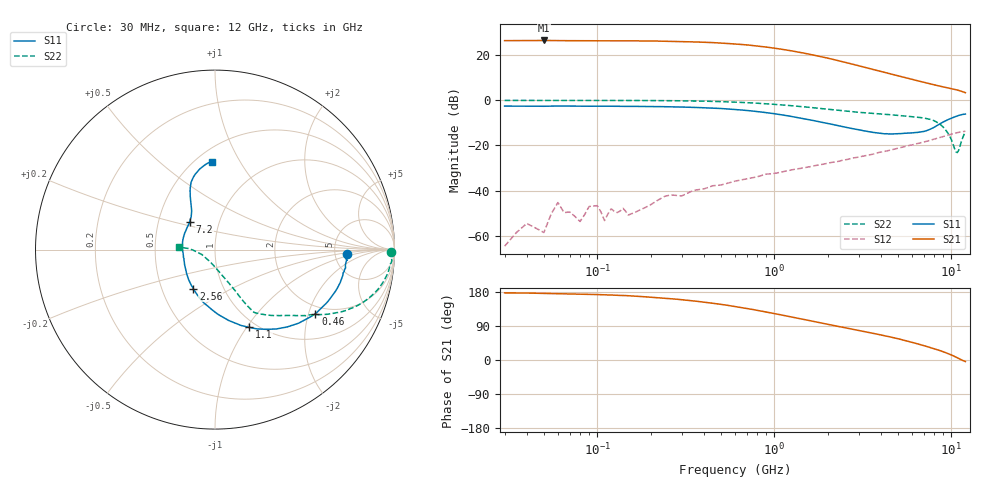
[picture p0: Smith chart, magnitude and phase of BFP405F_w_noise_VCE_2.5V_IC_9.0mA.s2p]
! Infineon Technologies  Discrete & RF Semiconductors
! BFP405F
! VCE =  2.5 V,  IC =  9.0 mA
! Common Emitter S-Parameters:  Nov 2015
# GHz  S  MA  R  50
!  f  S11  S21  S12  S22
! GHz  MAG  ANG  MAG  ANG  MAG  ANG  MAG  ANG
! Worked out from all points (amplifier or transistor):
!   239 points, 30 MHz to 12 GHz, reference 50 ohm
!   highest |S21| = 26.3 dB at 50 MHz (marker M1)
!   |S21| within 3 dB of that: start of sweep to 920.2 MHz
!   unconditionally stable (mu >= 1): start of sweep to 30.01626 MHz; 2.342 GHz to end of sweep
!   at 300 MHz: K = 0.23, MSG = 34.0 dB, |S12| = -42.3 dB
!   at 1.88 GHz: K = 0.87, MSG = 23.6 dB, |S12| = -28.3 dB
!   at 12 GHz: K = 1.40, MAG = 4.7 dB, |S12| = -13.7 dB
!   lowest NFmin = 1.60 dB at 450 MHz
!   S11 on the Smith chart (normalised r, x): 30 MHz: 6.48, -0.69; 460 MHz: 1.74, -2.22; 1.1 GHz: 0.92, -1.03; 2.56 GHz: 0.72, -0.33; 7.2 GHz: 0.72, +0.24; 12 GHz: 0.59, +0.77
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0.03  0.7353 -1.9  20.43 177.1  0.0006 62.1  0.9823 -0.7
0.04  0.7351 -2.6  20.46 176.7  0.0019 107.8  0.9825 -0.8
0.05  0.7299 -4.0  20.62 175.7  0.0012 120.0  0.986 -1.2
0.06  0.7395 -4.6  20.42 175.2  0.0055 56.5  0.9849 -1.9
0.085  0.7322 -6.2  20.34 173.4  0.003 92.1  0.9869 -2.5
0.145  0.7262 -10.7  20.25 170.0  0.0035 93.3  0.982 -4.5
0.24  0.7143 -17.6  19.83 163.1  0.0075 82.4  0.9724 -7.6
0.32  0.6969 -23.1  19.38 157.9  0.0087 78.9  0.9597 -10.0
0.46  0.6632 -32.5  18.41 149.1  0.013 78.4  0.9331 -13.9
0.6  0.6208 -41.3  17.26 141.1  0.0163 73.4  0.9008 -17.3
0.82  0.5525 -53.2  15.39 130.1  0.0209 71.8  0.8473 -21.8
1.1  0.4727 -66.4  13.2 118.7  0.026 68.1  0.7817 -26.4
1.3  0.4225 -75.1  11.85 111.7  0.0299 67.3  0.741 -28.8
1.64  0.3572 -88.1  9.94 102.5  0.0348 64.9  0.681 -32.2
2.08  0.2959 -103.7  8.122 92.7  0.0418 65.4  0.6193 -36.4
2.56  0.2491 -119.0  6.669 84.3  0.0488 62.7  0.5695 -40.1
3.3  0.2066 -140.0  5.191 74.0  0.06 61.3  0.5207 -44.8
4.5  0.1795 -171.0  3.799 61.0  0.0783 58.4  0.4765 -50.2
7.2  0.21 132.1  2.385 36.2  0.1224 48.6  0.3925 -58.8
9  0.3295 114.8  1.952 21.7  0.1573 40.6  0.2527 -64.0
10.8  0.446 102.6  1.666 5.9  0.1916 29.5  0.0694 -137.5
12  0.4911 92.1  1.454 -4.1  0.2059 22.7  0.2015 176.0
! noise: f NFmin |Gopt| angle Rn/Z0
0.45  1.6  0.23  5  0.33
0.9  1.61  0.21  11  0.35
1.5  1.67  0.2  16  0.26
1.9  1.7  0.18  22  0.29
2.4  1.84  0.17  30  0.34
3  1.92  0.15  43  0.31
3.5  1.97  0.13  50  0.3
4.5  2.13  0.1  51  0.2
5.5  2.32  0.05  51  0.05
